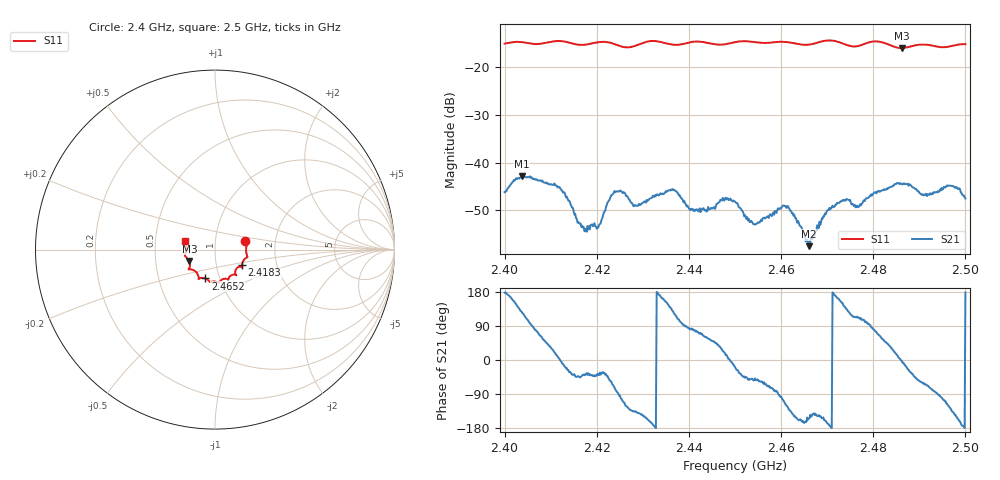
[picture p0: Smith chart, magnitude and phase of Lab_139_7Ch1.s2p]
# Hz S RI R 50
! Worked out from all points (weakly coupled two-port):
!   601 points, 2.4 GHz to 2.5 GHz, reference 50 ohm
!   highest |S21| = -42.86 dB at 2.4037 GHz (marker M1); lowest = -57.5 dB at 2.466 GHz (marker M2)
!   lowest |S11| = -16.1 dB at 2.4862 GHz (marker M3), VSWR 1.37, Z = 37.2 - j4.86 ohm
!   |S11| at or under -10 dB: start of sweep to end of sweep
!   S12 and S22 are empty: the file has one direction only
!   S11 on the Smith chart (normalised r, x): 2.4 GHz: 1.40, +0.13; 2.4183 GHz: 1.33, -0.24; 2.4652 GHz: 0.85, -0.28; 2.5 GHz: 0.71, +0.07
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2.4e9  0.1682 0.0466  -0.00491 0.000206  0 0  0 0
2.403667e9  0.1791 0.0289  -0.00441 0.00568  0 0  0 0
2.411667e9  0.1818 -0.0404  0.00549 0.000568  0 0  0 0
2.416667e9  0.1551 -0.0679  0.00155 -0.00145  0 0  0 0
2.418333e9  0.15 -0.0866  0.00168 -0.00137  0 0  0 0
2.4205e9  0.1513 -0.0998  0.00172 -0.00143  0 0  0 0
2.424e9  0.1427 -0.0954  0.0011 -0.00478  0 0  0 0
2.4285e9  0.1128 -0.123  -0.00259 -0.00246  0 0  0 0
2.433333e9  0.1175 -0.1416  -0.00455 0.000441  0 0  0 0
2.436833e9  0.0923 -0.1425  -0.00272 0.0044  0 0  0 0
2.441667e9  0.0738 -0.1684  0.000746 0.00316  0 0  0 0
2.45e9  0.0257 -0.1797  0.0037 -0.00126  0 0  0 0
2.454333e9  0.0124 -0.1806  0.00149 -0.00169  0 0  0 0
2.461167e9  -0.03 -0.1789  -0.00168 -0.00291  0 0  0 0
2.465167e9  -0.0542 -0.1609  -0.00168 -0.00052  0 0  0 0
2.466e9  -0.0635 -0.1582  -0.00122 -0.000563  0 0  0 0
2.466667e9  -0.0707 -0.1575  -0.00134 -0.000867  0 0  0 0
2.472333e9  -0.0909 -0.1584  -0.00362 0.00114  0 0  0 0
2.476667e9  -0.1173 -0.1155  -0.00126 0.00317  0 0  0 0
2.483333e9  -0.141 -0.0966  0.00417 0.00346  0 0  0 0
2.486167e9  -0.1431 -0.0637  0.0059 -0.000249  0 0  0 0
2.5e9  -0.166 0.0473  -0.00421 0.000145  0 0  0 0
